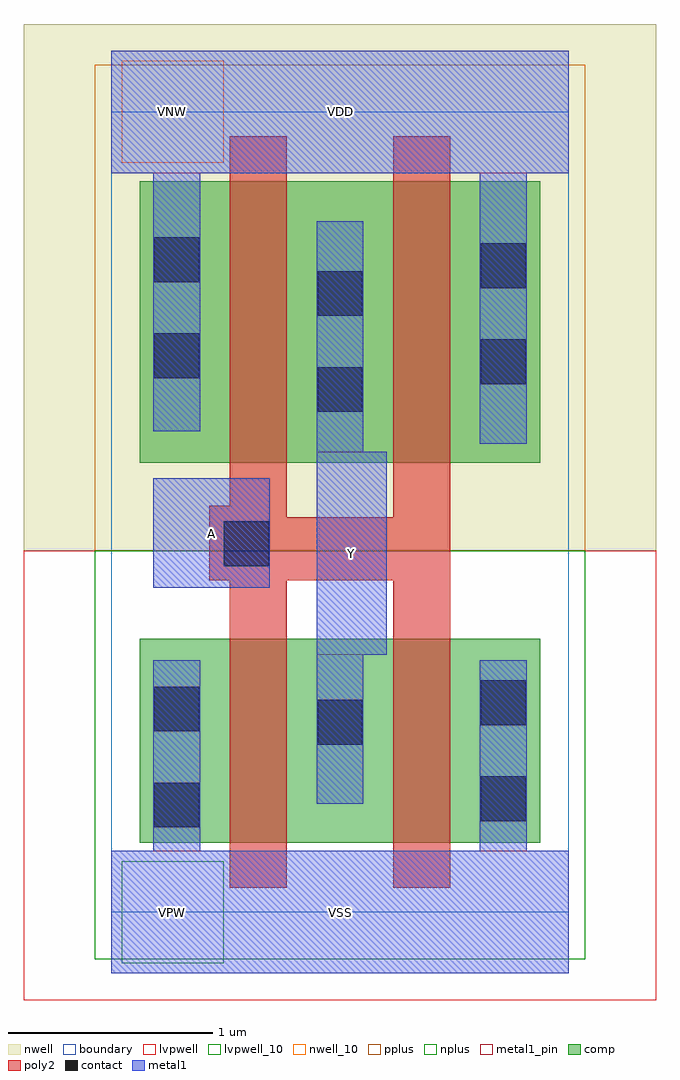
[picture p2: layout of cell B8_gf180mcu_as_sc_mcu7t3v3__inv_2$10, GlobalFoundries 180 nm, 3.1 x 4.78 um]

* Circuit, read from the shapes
.subckt B8_gf180mcu_as_sc_mcu7t3v3__inv_2$10 A VDD VNW VSS Y
XM1 Y A VSS VSUBS nfet_03v3 w=1u l=0.28u m=2
XM2 Y A VDD VNW pfet_03v3 w=1.38u l=0.28u m=2
.ends

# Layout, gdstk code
import gdstk
lib = gdstk.Library(unit=1e-6, precision=1e-09)
def R(c, l, rs):  # rectangles x0, y0, x1, y1
    for r in rs: c.add(gdstk.rectangle(r[:2], r[2:], *l))
boundary = (0, 0)
nwell = (21, 0)
nwell_10 = (21, 10)
comp = (22, 0)
poly2 = (30, 0)
pplus = (31, 0)
nplus = (32, 0)
contact = (33, 0)
metal1 = (34, 0)
metal1_pin = (34, 10)
lvpwell = (204, 0)
lvpwell_10 = (204, 10)

b8_gf180mcu_as_sc_mcu7t3 = lib.new_cell('B8_gf180mcu_as_sc_mcu7t3v3__inv_2$10')
R(b8_gf180mcu_as_sc_mcu7t3, boundary, [(0,0,2.24,3.92)])
R(b8_gf180mcu_as_sc_mcu7t3, nwell, [(-0.43,1.77,2.67,4.35)])
R(b8_gf180mcu_as_sc_mcu7t3, nwell_10, [(0.05,3.67,0.55,4.17)])
R(b8_gf180mcu_as_sc_mcu7t3, comp, [(0.14,0.34,2.1,1.34), (0.14,2.2,2.1,3.58)])
R(b8_gf180mcu_as_sc_mcu7t3, poly2, [(0.58,0.12,0.86,1.625), (1.38,0.12,1.66,1.625), (0.48,1.625,1.66,1.935), (0.48,1.935,0.86,1.99), (1.38,1.935,1.66,3.8), (0.58,1.99,0.86,3.8)])
R(b8_gf180mcu_as_sc_mcu7t3, pplus, [(-0.08,1.77,2.32,4.15)])
R(b8_gf180mcu_as_sc_mcu7t3, nplus, [(-0.08,-0.23,2.32,1.77)])
R(b8_gf180mcu_as_sc_mcu7t3, contact, [(0.21,0.415,0.43,0.635), (1.81,0.445,2.03,0.665), (1.01,0.82,1.23,1.04), (0.21,0.885,0.43,1.105), (1.81,0.915,2.03,1.135), (0.55,1.695,0.77,1.915), (1.01,2.45,1.23,2.67), (1.81,2.585,2.03,2.805), (0.21,2.615,0.43,2.835), (1.01,2.92,1.23,3.14), (1.81,3.055,2.03,3.275), (0.21,3.085,0.43,3.305)])
R(b8_gf180mcu_as_sc_mcu7t3, metal1, [(0,-0.3,2.24,0.3), (0.205,0.3,0.435,1.235), (1.805,0.3,2.035,1.235), (1.005,0.53,1.235,1.26), (1.005,1.26,1.35,2.255), (0.205,1.59,0.775,2.125), (1.005,2.255,1.235,3.385), (1.805,2.295,2.035,3.62), (0.205,2.355,0.435,3.62), (0,3.62,2.24,4.22)])
R(b8_gf180mcu_as_sc_mcu7t3, metal1_pin, [(0,-0.3,2.24,0.3), (1.005,1.26,1.35,2.255), (0.205,1.59,0.775,2.125), (0,3.62,2.24,4.22)])
R(b8_gf180mcu_as_sc_mcu7t3, lvpwell, [(-0.43,-0.43,2.67,1.77)])
R(b8_gf180mcu_as_sc_mcu7t3, lvpwell_10, [(0.05,-0.25,0.55,0.25)])
b8_gf180mcu_as_sc_mcu7t3.add(gdstk.Label('A', (0.49,1.857), layer=34, texttype=10))
b8_gf180mcu_as_sc_mcu7t3.add(gdstk.Label('Y', (1.177,1.757), layer=34, texttype=10))
b8_gf180mcu_as_sc_mcu7t3.add(gdstk.Label('VSS', (1.12,0), layer=34, texttype=10))
b8_gf180mcu_as_sc_mcu7t3.add(gdstk.Label('VDD', (1.12,3.92), layer=34, texttype=10))
b8_gf180mcu_as_sc_mcu7t3.add(gdstk.Label('VNW', (0.3,3.92), layer=21, texttype=10))
b8_gf180mcu_as_sc_mcu7t3.add(gdstk.Label('VPW', (0.3,0), layer=204, texttype=10))

lib.write_gds('B8_gf180mcu_as_sc_mcu7t3v3__inv_2_10.gds')
